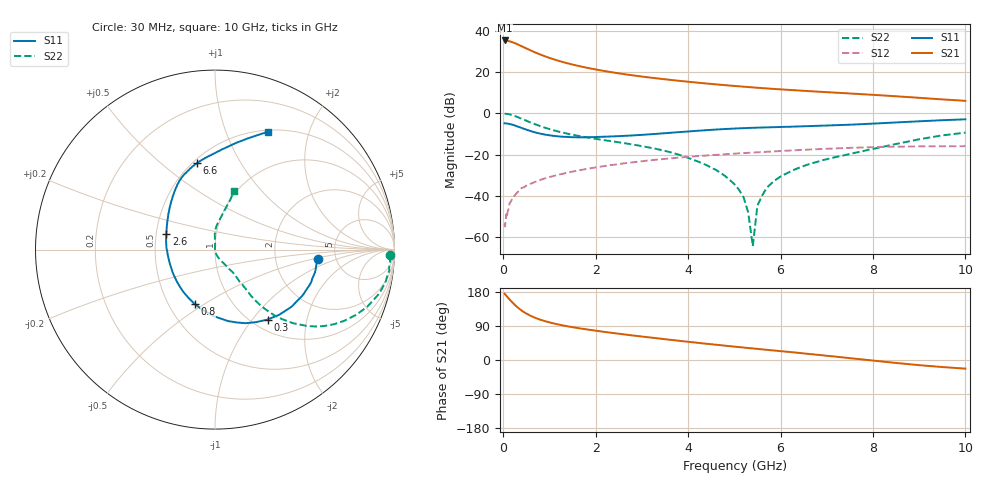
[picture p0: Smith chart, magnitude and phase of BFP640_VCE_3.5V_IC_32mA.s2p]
! Infineon Technologies  Discrete & RF Semiconductors
! BFP640
! VCE =  3.5 V,  IC =  32 mA
! Common Emitter S-Parameters:  Apr 2013
# GHz  S  MA  R  50
!  f  S11  S21  S12  S22
! GHz  MAG  ANG  MAG  ANG  MAG  ANG  MAG  ANG
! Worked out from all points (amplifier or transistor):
!   99 points, 30 MHz to 10 GHz, reference 50 ohm
!   highest |S21| = 35.4 dB at 30 MHz (marker M1)
!   |S21| within 3 dB of that: start of sweep to 418.8 MHz
!   unconditionally stable (mu >= 1): 2.17 GHz to end of sweep
!   at 350 MHz: K = 0.39, MSG = 35.2 dB, |S12| = -37.3 dB
!   at 3.5 GHz: K = 1.05, MAG = 17.9 dB, |S12| = -22.1 dB
!   at 10 GHz: K = 1.06, MAG = 9.5 dB, |S12| = -15.9 dB
!   S11 on the Smith chart (normalised r, x): 30 MHz: 3.63, -0.56; 300 MHz: 1.17, -1.20; 800 MHz: 0.67, -0.46; 2.6 GHz: 0.57, +0.11; 6.6 GHz: 0.53, +0.67; 10 GHz: 0.52, +1.41
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0.03  0.5762 -5.1  59 174.7  0.0021 60.0  0.9777 -1.9
0.07  0.571 -13.1  58.4 169.2  0.0036 87.5  0.9781 -6.9
0.15  0.5494 -28.1  55.7 158.1  0.0069 78.2  0.9405 -15.8
0.2  0.5321 -36.8  53.35 151.6  0.0085 74.4  0.906 -20.6
0.25  0.5099 -45.3  50.89 145.5  0.0103 71.3  0.8653 -24.9
0.3  0.4877 -53.1  48.1 140.0  0.0119 70.9  0.8229 -28.8
0.4  0.4441 -67.4  42.75 130.4  0.0155 68.4  0.741 -35.1
0.5  0.4044 -79.8  37.79 122.7  0.0177 66.1  0.6644 -39.8
0.6  0.3706 -91.2  33.55 116.2  0.0198 65.4  0.598 -43.3
0.8  0.324 -110.3  26.93 106.5  0.0243 62.5  0.4936 -47.9
1.1  0.2843 -133.8  20.45 96.2  0.0305 61.4  0.3862 -51.1
1.4  0.2678 -151.8  16.37 88.8  0.0367 60.0  0.3208 -52.1
1.7  0.2631 -166.5  13.63 82.7  0.0428 58.5  0.2754 -51.9
2.6  0.2845 162.5  9.04 67.8  0.0611 52.7  0.1911 -52.0
3.4  0.3254 143.1  6.937 56.3  0.0769 46.2  0.1307 -54.1
5.1  0.4341 116.6  4.55 34.1  0.1072 31.6  0.0141 -81.0
5.4  0.4477 113.5  4.281 30.5  0.1121 29.1  0.0006 99.1
5.7  0.4575 110.6  4.042 26.9  0.117 26.8  0.0156 88.8
6.6  0.4911 101.9  3.486 16.1  0.1324 18.7  0.0577 90.6
6.7  0.4957 100.8  3.435 15.0  0.134 17.6  0.0626 90.4
8.5  0.604 79.1  2.607 -7.8  0.156 -0.4  0.1813 79.9
10  0.7193 65.8  2.022 -22.8  0.1605 -12.4  0.3417 72.2
